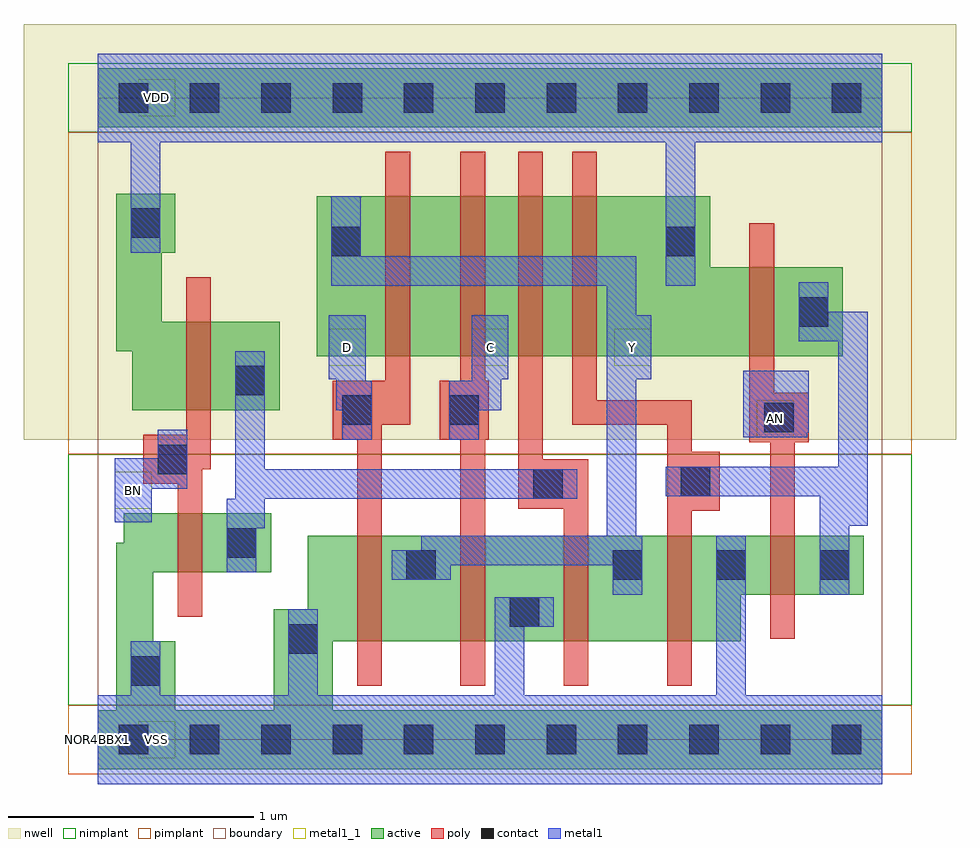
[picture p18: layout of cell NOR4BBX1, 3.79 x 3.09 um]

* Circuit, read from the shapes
.subckt NOR4BBX1 AN BN C D VDD VSS Y
M1 n1 BN VSS VSS nfet w=0.24u l=0.1u
M2 Y D VSS VSS nfet w=0.43u l=0.1u
M3 VSS C Y VSS nfet w=0.43u l=0.1u
M4 Y n1 VSS VSS nfet w=0.43u l=0.1u
M5 VSS n2 Y VSS nfet w=0.43u l=0.1u
M6 n2 AN VSS VSS nfet w=0.24u l=0.1u
M7 n1 BN VDD VDD pfet w=0.36u l=0.1u
M8 n3 D Y VDD pfet w=0.65u l=0.1u
M9 n4 C n3 VDD pfet w=0.65u l=0.1u
M10 n5 n1 n4 VDD pfet w=0.65u l=0.1u
M11 VDD n2 n5 VDD pfet w=0.65u l=0.1u
M12 n2 AN VDD VDD pfet w=0.36u l=0.1u
.ends

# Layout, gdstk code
import gdstk
lib = gdstk.Library(unit=1e-6, precision=5e-10)
def R(c, l, rs):  # rectangles x0, y0, x1, y1
    for r in rs: c.add(gdstk.rectangle(r[:2], r[2:], *l))
def A(c, l, x, y, w, h, nx, ny, dx, dy):  # array of equal rectangles
    R(c, l, [(x+i*dx, y+j*dy, x+i*dx+w, y+j*dy+h) for i in range(nx) for j in range(ny)])
active = (1, 0)
nwell = (2, 0)
poly = (3, 0)
nimplant = (4, 0)
pimplant = (5, 0)
contact = (6, 0)
metal1 = (7, 0)
metal1_1 = (7, 1)
boundary = (62, 0)

nor4bbx1 = lib.new_cell('NOR4BBX1')
R(nor4bbx1, active, [(0,-0.12,3.19,0.12), (0.075,0.12,0.315,0.4), (0.715,0.12,0.955,0.4), (0.075,0.4,0.225,0.68), (0.715,0.4,2.615,0.53), (0.855,0.53,2.615,0.59), (0.855,0.59,3.115,0.83), (0.075,0.68,0.705,0.8), (0.105,0.8,0.705,0.92), (0.14,1.34,0.74,1.58), (0.89,1.56,3.03,1.92), (0.075,1.58,0.74,1.7), (0.075,1.7,0.26,1.98), (0.89,1.92,2.49,2.21), (0.075,1.98,0.315,2.22), (0,2.49,3.19,2.73)])
R(nor4bbx1, nwell, [(-0.3,1.22,3.49,2.91)])
R(nor4bbx1, poly, [(1.055,0.22,1.155,1.22), (1.475,0.22,1.575,1.22), (1.895,0.22,1.995,0.94), (2.315,0.22,2.415,0.93), (2.735,0.41,2.835,1.21), (0.325,0.5,0.425,1.04), (2.315,0.93,2.53,1.17), (1.71,0.94,1.995,1.14), (0.185,1.04,0.425,1.1), (0.185,1.1,0.46,1.24), (1.71,1.14,1.81,2.39), (2.315,1.17,2.415,1.28), (2.65,1.21,2.89,1.41), (0.955,1.22,1.155,1.28), (1.39,1.22,1.59,1.46), (0.36,1.24,0.46,1.88), (0.955,1.28,1.27,1.46), (1.93,1.28,2.415,1.38), (1.93,1.38,2.03,2.39), (2.65,1.41,2.75,2.1), (1.17,1.46,1.27,2.39), (1.475,1.46,1.575,2.39)])
R(nor4bbx1, nimplant, [(-0.12,0.14,3.31,1.16), (-0.12,2.47,3.31,2.75)])
R(nor4bbx1, pimplant, [(-0.12,-0.14,3.31,0.14), (-0.12,1.16,3.31,2.47)])
A(nor4bbx1, contact, 0.085, -0.06, 0.12, 0.12, 11, 2, 0.29, 2.61)
A(nor4bbx1, contact, 2.095, 0.65, 0.12, 0.12, 3, 1, 0.42, 0)
R(nor4bbx1, contact, [(0.135,0.22,0.255,0.34), (0.775,0.35,0.895,0.47), (1.675,0.46,1.795,0.58), (1.255,0.65,1.375,0.77), (0.525,0.74,0.645,0.86), (1.77,0.98,1.89,1.1), (2.37,0.99,2.49,1.11), (0.245,1.08,0.365,1.2), (2.71,1.25,2.83,1.37), (0.995,1.28,1.115,1.4), (1.43,1.28,1.55,1.4), (0.56,1.4,0.68,1.52), (2.85,1.68,2.97,1.8), (0.95,1.965,1.07,2.085), (2.31,1.965,2.43,2.085), (0.135,2.04,0.255,2.16)])
R(nor4bbx1, metal1, [(0,-0.18,3.19,0.18), (0.135,0.18,0.255,0.4), (0.775,0.18,0.895,0.53), (1.615,0.18,1.735,0.46), (2.515,0.18,2.635,0.83), (1.615,0.46,1.855,0.58), (2.095,0.59,2.215,0.71), (2.935,0.59,3.055,0.87), (1.195,0.65,1.435,0.71), (0.525,0.68,0.645,0.86), (1.195,0.71,2.215,0.77), (1.315,0.77,2.215,0.83), (2.07,0.83,2.19,1.465), (0.525,0.86,0.68,0.98), (2.935,0.87,3.13,0.99), (0.07,0.885,0.22,1.02), (0.56,0.98,1.95,1.1), (2.31,0.99,3.13,1.11), (0.07,1.02,0.365,1.145), (0.56,1.1,0.68,1.58), (3.01,1.11,3.13,1.62), (0.245,1.145,0.365,1.26), (0.995,1.22,1.115,1.34), (1.43,1.22,1.55,1.34), (2.625,1.23,2.885,1.25), (2.625,1.25,2.89,1.5), (0.97,1.34,1.115,1.46), (1.43,1.34,1.64,1.46), (0.97,1.46,1.09,1.465), (1.52,1.46,1.64,1.465), (0.94,1.465,1.09,1.725), (1.52,1.465,1.67,1.725), (2.07,1.465,2.25,1.725), (2.85,1.62,3.13,1.74), (2.07,1.725,2.19,1.845), (2.85,1.74,2.97,1.86), (0.95,1.845,2.19,1.965), (2.31,1.845,2.43,2.43), (0.95,1.965,1.07,2.21), (0.135,1.98,0.255,2.43), (0,2.43,3.19,2.79)])
A(nor4bbx1, metal1_1, 0.94, 1.52, 0.15, 0.15, 3, 1, 0.58, 0)
R(nor4bbx1, metal1_1, [(0.165,-0.075,0.315,0.075), (0.07,0.94,0.22,1.09), (2.68,1.23,2.83,1.38), (0.165,2.535,0.315,2.685)])
R(nor4bbx1, boundary, [(0,0,3.19,2.61)])
nor4bbx1.add(gdstk.Label('NOR4BBX1', (0,0), layer=63, texttype=0))
nor4bbx1.add(gdstk.Label('VSS', (0.24,0), layer=7, texttype=3))
nor4bbx1.add(gdstk.Label('VDD', (0.24,2.61), layer=7, texttype=3))
nor4bbx1.add(gdstk.Label('BN', (0.145,1.015), layer=7, texttype=3))
nor4bbx1.add(gdstk.Label('AN', (2.755,1.305), layer=7, texttype=3))
nor4bbx1.add(gdstk.Label('C', (1.595,1.595), layer=7, texttype=3))
nor4bbx1.add(gdstk.Label('D', (1.015,1.595), layer=7, texttype=3))
nor4bbx1.add(gdstk.Label('Y', (2.175,1.595), layer=7, texttype=3))

lib.write_gds('NOR4BBX1.gds')
